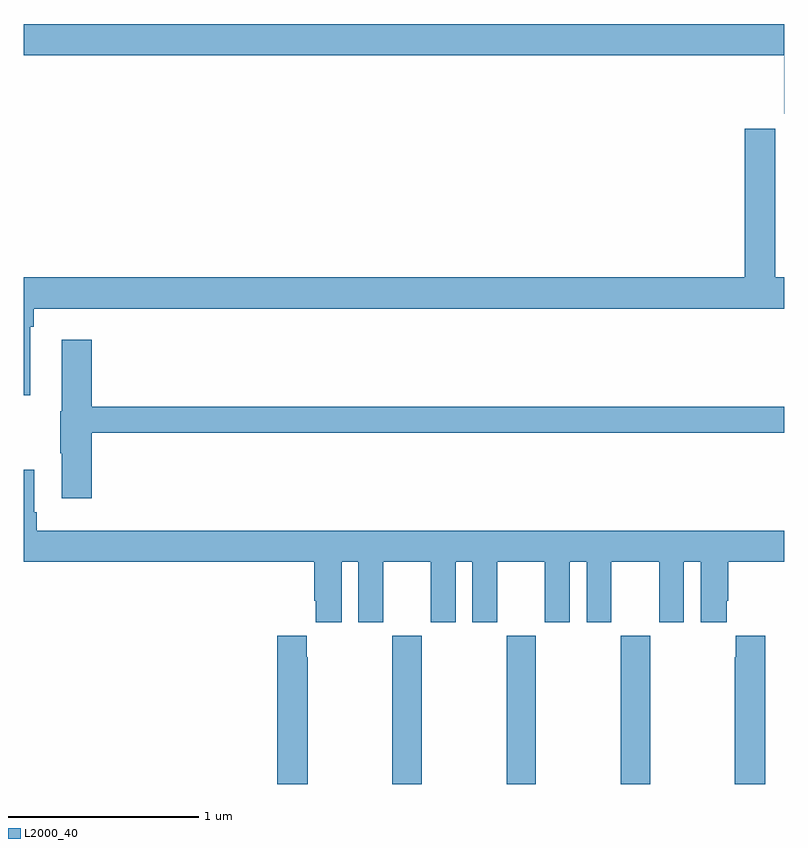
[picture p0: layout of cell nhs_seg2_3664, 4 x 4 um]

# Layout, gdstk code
import gdstk
lib = gdstk.Library(unit=1e-6, precision=1e-09)
def R(c, l, rs):  # rectangles x0, y0, x1, y1
    for r in rs: c.add(gdstk.rectangle(r[:2], r[2:], *l))
def A(c, l, x, y, w, h, nx, ny, dx, dy):  # array of equal rectangles
    R(c, l, [(x+i*dx, y+j*dy, x+i*dx+w, y+j*dy+h) for i in range(nx) for j in range(ny)])
def P(c, l, *ps):  # polygons
    for p in ps: c.add(gdstk.Polygon(p, *l))
L2000_40 = (2000, 40)

nhs_seg2_3664 = lib.new_cell('nhs_seg2_3664')
A(nhs_seg2_3664, L2000_40, 304.939, 647.8, 0.155, 0.78, 3, 1, 0.6, 0)
P(nhs_seg2_3664, L2000_40, [(307,651.796),(303,651.796),(303,651.632),(306.998,651.632),(306.998,651.323),(307,651.323)],
  [(303.034,650.204),(303.053,650.204),(303.053,650.3),(307,650.3),(307,650.464),(306.951,650.464),(306.951,651.244),(306.791,651.244),(306.791,650.464),(303,650.464),(303,649.845),(303.034,649.845)],
  [(303.359,649.648),(307,649.648),(307,649.784),(303.359,649.784),(303.359,650.137),(303.2,650.137),(303.2,649.761),(303.193,649.761),(303.193,649.54),(303.2,649.54),(303.2,649.302),(303.359,649.302)],
  [(304.672,648.968),(304.76,648.968),(304.76,648.651),(304.891,648.651),(304.891,648.968),(305.141,648.968),(305.141,648.651),(305.272,648.651),(305.272,648.968),(305.36,648.968),(305.36,648.651),(305.491,648.651),(305.491,648.968),(305.741,648.968),(305.741,648.651),(305.872,648.651),(305.872,648.968),(305.96,648.968),(305.96,648.651),(306.091,648.651),(306.091,648.968),(306.341,648.968),(306.341,648.651),(306.472,648.651),(306.472,648.968),(306.56,648.968),(306.56,648.651),(306.697,648.651),(306.697,648.763),(306.704,648.763),(306.704,648.968),(307,648.968),(307,649.132),(303.068,649.132),(303.068,649.228),(303.055,649.228),(303.055,649.453),(303,649.453),(303,648.968),(304.529,648.968),(304.529,648.763),(304.535,648.763),(304.535,648.651),(304.672,648.651)],
  [(306.899,648.58),(306.743,648.58),(306.743,648.467),(306.739,648.467),(306.739,647.8),(306.899,647.8)],
  [(304.489,648.467),(304.489,648.58),(304.334,648.58),(304.334,647.8),(304.494,647.8),(304.494,648.467)])

lib.write_gds('nhs_seg2_3664.gds')
